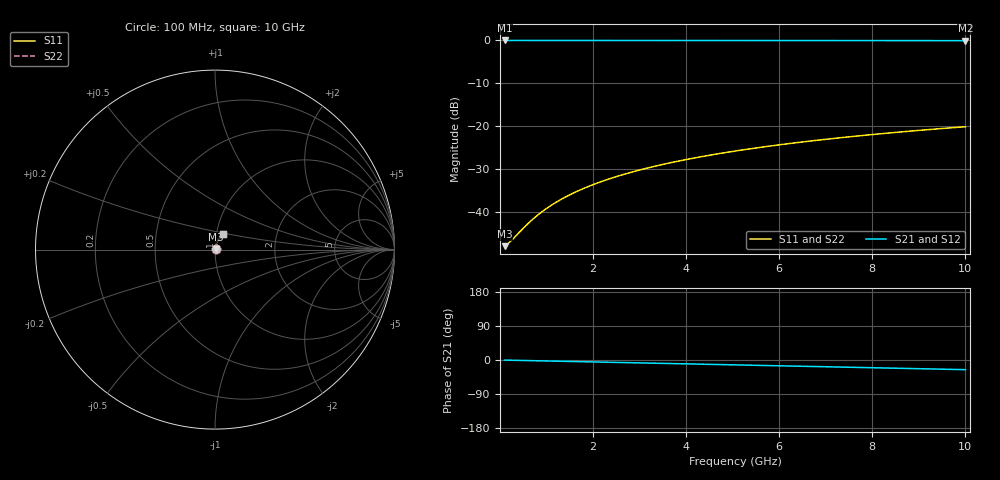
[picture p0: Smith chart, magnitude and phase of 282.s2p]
# Hz S RI R 50.00
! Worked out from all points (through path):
!   100 points, 100 MHz to 10 GHz, reference 50 ohm
!   highest |S21| = -0.03 dB at 100 MHz (marker M1); lowest = -0.1 dB at 10 GHz (marker M2)
!   group delay of S21, straight-line fit = 7.08 ps
!   lowest |S11| = -48.1 dB at 100 MHz (marker M3), VSWR 1.01, Z = 50.4 + j0.101 ohm
!   |S11| at or under -10 dB: start of sweep to end of sweep
!   |S22| runs from -48.1 to -20.2 dB; largest |S21 - S12| = 0
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1e8  0.00382 0.000998  0.9962 -0.00443  0.9962 -0.00443  0.00382 0.000998
2e8  0.00386 0.002  0.9961 -0.00886  0.9961 -0.00886  0.00386 0.002
6e8  0.00405 0.00598  0.9957 -0.0266  0.9957 -0.0266  0.00405 0.00598
7e8  0.00412 0.00698  0.9956 -0.031  0.9956 -0.031  0.00412 0.00698
9e8  0.00428 0.00897  0.9952 -0.0399  0.9952 -0.0399  0.00428 0.00897
1.1e9  0.00447 0.011  0.9948 -0.0487  0.9948 -0.0487  0.00447 0.011
1.3e9  0.0047 0.0129  0.9943 -0.0576  0.9943 -0.0576  0.0047 0.0129
1.5e9  0.00495 0.0149  0.9937 -0.0664  0.9937 -0.0664  0.00495 0.0149
1.8e9  0.00541 0.0179  0.9926 -0.0797  0.9926 -0.0797  0.00541 0.0179
2.1e9  0.00594 0.0208  0.9914 -0.0929  0.9914 -0.0929  0.00594 0.0208
2.5e9  0.00677 0.0247  0.9895 -0.1105  0.9895 -0.1105  0.00677 0.0247
2.9e9  0.00773 0.0286  0.9872 -0.1281  0.9872 -0.1281  0.00773 0.0286
3.4e9  0.00913 0.0334  0.9839 -0.15  0.9839 -0.15  0.00913 0.0334
3.8e9  0.0104 0.0371  0.9809 -0.1674  0.9809 -0.1674  0.0104 0.0371
4.2e9  0.0118 0.0409  0.9776 -0.1848  0.9776 -0.1848  0.0118 0.0409
4.6e9  0.0133 0.0445  0.974 -0.2022  0.974 -0.2022  0.0133 0.0445
5.1e9  0.0154 0.049  0.969 -0.2237  0.969 -0.2237  0.0154 0.049
5.9e9  0.0192 0.056  0.96 -0.258  0.96 -0.258  0.0192 0.056
6.7e9  0.0235 0.0627  0.9497 -0.2918  0.9497 -0.2918  0.0235 0.0627
7.5e9  0.0282 0.0691  0.9381 -0.3252  0.9381 -0.3252  0.0282 0.0691
8.4e9  0.0341 0.0759  0.9237 -0.3622  0.9237 -0.3622  0.0341 0.0759
1e10  0.0457 0.0866  0.8944 -0.4263  0.8944 -0.4263  0.0457 0.0866
